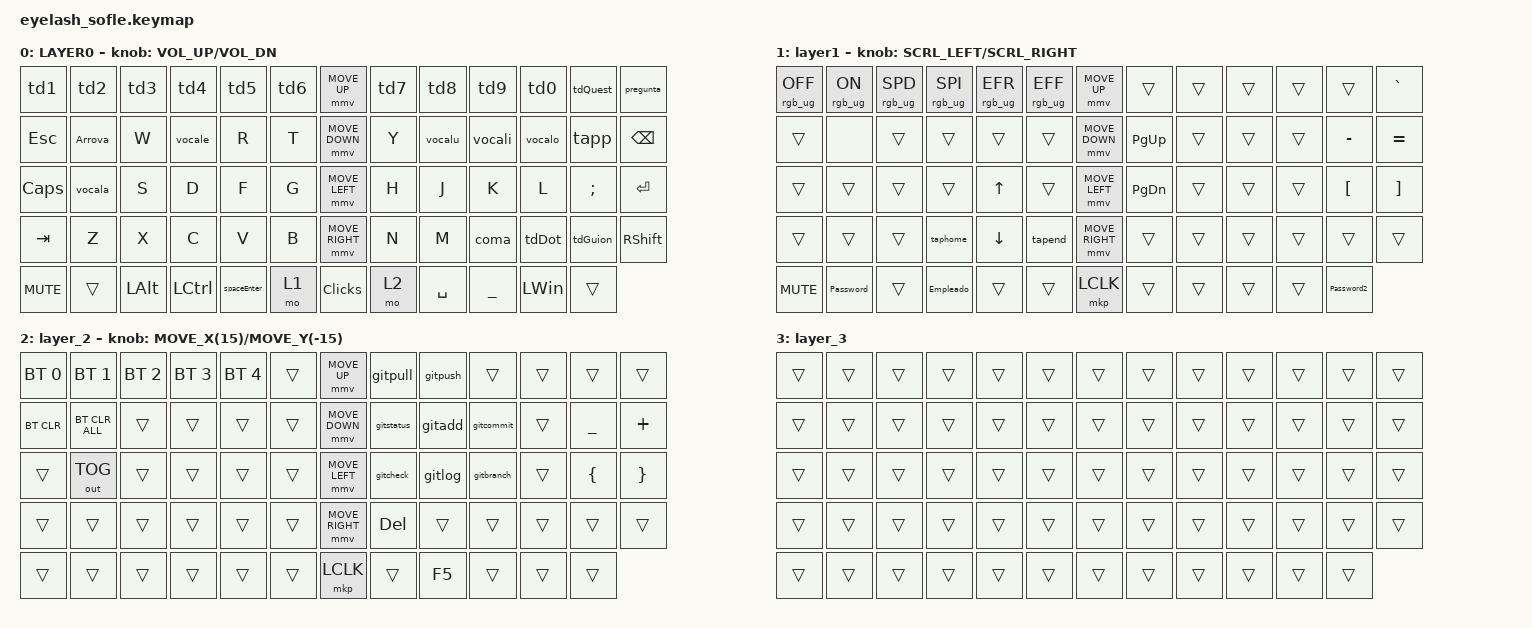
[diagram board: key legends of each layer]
#define ZMK_POINTING_DEFAULT_MOVE_VAL 1200  // 600
#define ZMK_POINTING_DEFAULT_SCRL_VAL 35    // 10

#include <input/processors.dtsi>
#include <zephyr/dt-bindings/input/input-event-codes.h>
#include <behaviors.dtsi>
#include <dt-bindings/zmk/bt.h>
#include <dt-bindings/zmk/keys.h>
#include <dt-bindings/zmk/outputs.h>
#include <dt-bindings/zmk/pointing.h>
#include <dt-bindings/zmk/rgb.h>

/ {
    zip_scroll_scaler: zip_scroll_scaler {
        compatible = "zmk,input-processor-scaler";
        #input-processor-cells = <2>;
        type = <INPUT_EV_REL>;
        codes = <INPUT_REL_WHEEL INPUT_REL_HWHEEL>;
        track-remainders;
    };
};

&mmv_input_listener { input-processors = <&zip_xy_scaler 2 1>; };

&msc_input_listener { input-processors = <&zip_scroll_scaler 2 1>; };

&msc {
    acceleration-exponent = <0>;      // 0
    time-to-max-speed-ms = <0>;       // 300
    delay-ms = <0>;                   // 0
};

&mmv {
    time-to-max-speed-ms = <400>;
    acceleration-exponent = <1>;
};

/ {
    scroll_encoder: scroll_encoder {
        compatible = "zmk,behavior-sensor-rotate";
        #sensor-binding-cells = <0>;
        bindings = <&msc SCRL_DOWN>, <&msc SCRL_UP>;

        tap-ms = <30>;
    };

    behaviors {
        td6: tap_dance_6 {
            compatible = "zmk,behavior-tap-dance";
            #binding-cells = <0>;
            tapping-term-ms = <200>;
            bindings = <&kp NUMBER_6>, <&kp RS(NUMBER_6)>;
        };

        td1: tap_dance_1 {
            compatible = "zmk,behavior-tap-dance";
            #binding-cells = <0>;
            bindings = <&kp NUMBER_1>, <&kp RS(NUMBER_1)>;
        };

        td2: tap_dance_2 {
            compatible = "zmk,behavior-tap-dance";
            #binding-cells = <0>;
            bindings = <&kp NUMBER_2>, <&kp RS(NUMBER_2)>;
        };

        Clicks: Clicks {
            compatible = "zmk,behavior-tap-dance";
            label = "CLICKS";
            #binding-cells = <0>;
            bindings = <&mkp LCLK>, <&mkp RCLK>;
        };

        td3: td3 {
            compatible = "zmk,behavior-tap-dance";
            label = "TD3";
            #binding-cells = <0>;
            bindings = <&kp NUMBER_3>, <&kp RS(NUMBER_3)>;
        };

        td4: td4 {
            compatible = "zmk,behavior-tap-dance";
            label = "TD4";
            #binding-cells = <0>;
            bindings = <&kp NUMBER_4>, <&kp RS(NUMBER_4)>;
        };

        td5: td5 {
            compatible = "zmk,behavior-tap-dance";
            label = "TD5";
            #binding-cells = <0>;
            bindings = <&kp N5>, <&kp RS(N5)>;
        };

        td7: td7 {
            compatible = "zmk,behavior-tap-dance";
            label = "TD7";
            #binding-cells = <0>;
            bindings = <&kp N7>, <&kp RS(N7)>;
        };

        td8: td8 {
            compatible = "zmk,behavior-tap-dance";
            label = "TD8";
            #binding-cells = <0>;
            bindings = <&kp N8>, <&kp RS(N8)>;
        };

        td9: td9 {
            compatible = "zmk,behavior-tap-dance";
            label = "TD9";
            #binding-cells = <0>;
            bindings = <&kp N9>, <&kp RS(N9)>;
        };

        td0: td0 {
            compatible = "zmk,behavior-tap-dance";
            label = "TD0";
            #binding-cells = <0>;
            bindings = <&kp N0>, <&kp RS(N0)>;
        };

        tdQuest: tdQuest {
            compatible = "zmk,behavior-tap-dance";
            label = "TDQUEST";
            #binding-cells = <0>;
            bindings = <&kp RS(MINUS)>, <&kp MINUS>;
        };

        tdDot: tdDot {
            compatible = "zmk,behavior-tap-dance";
            label = "TDDOT";
            #binding-cells = <0>;
            bindings = <&kp DOT>, <&kp RS(DOT)>;
        };

        tdmouse: tdmouse {
            compatible = "zmk,behavior-sensor-rotate-var";
            label = "TDMOUSE";
            #sensor-binding-cells = <2>;
            bindings = <&msc>, <&msc>;
        };

        Arrova: Arrova {
            compatible = "zmk,behavior-tap-dance";
            label = "ARROVA";
            #binding-cells = <0>;
            bindings = <&kp Q>, <&kp RA(Q)>;
        };

        spaceEnter: spaceEnter {
            compatible = "zmk,behavior-tap-dance";
            label = "SPACEENTER";
            #binding-cells = <0>;
            bindings = <&kp SPACE>, <&kp ENTER>;
        };

        coma: coma {
            compatible = "zmk,behavior-tap-dance";
            label = "COMA";
            #binding-cells = <0>;
            bindings = <&kp COMMA>, <&kp RS(COMMA)>;
        };

        vocala: vocala {
            compatible = "zmk,behavior-tap-dance";
            label = "VOCALA";
            #binding-cells = <0>;
            bindings = <&kp A>, <&kp LEFT_BRACKET>;
        };

        vocale: vocale {
            compatible = "zmk,behavior-tap-dance";
            label = "VOCALE";
            #binding-cells = <0>;
            bindings = <&kp E>, <&kp LEFT_BRACKET>;
        };

        vocalu: vocalu {
            compatible = "zmk,behavior-tap-dance";
            label = "VOCALU";
            #binding-cells = <0>;
            bindings = <&kp U>, <&kp LEFT_BRACKET>;
        };

        vocali: vocali {
            compatible = "zmk,behavior-tap-dance";
            label = "VOCALI";
            #binding-cells = <0>;
            bindings = <&kp I>, <&kp LEFT_BRACKET>;
        };

        vocalo: vocalo {
            compatible = "zmk,behavior-tap-dance";
            label = "VOCALO";
            #binding-cells = <0>;
            bindings = <&kp O>, <&kp LEFT_BRACKET>;
        };

        pregunta: pregunta {
            compatible = "zmk,behavior-tap-dance";
            label = "PREGUNTA";
            #binding-cells = <0>;
            bindings = <&kp EQUAL>, <&kp PLUS>;
        };

        tapend: tapend {
            compatible = "zmk,behavior-tap-dance";
            label = "TAPEND";
            #binding-cells = <0>;
            bindings = <&kp RIGHT>, <&kp END>;
        };

        taphome: taphome {
            compatible = "zmk,behavior-tap-dance";
            label = "TAPHOME";
            #binding-cells = <0>;
            bindings = <&kp LEFT_ARROW>, <&kp HOME>;
        };

        tapp: tapp {
            compatible = "zmk,behavior-tap-dance";
            label = "TAPP";
            #binding-cells = <0>;
            bindings = <&kp P>, <&kp RIGHT_BRACKET>;
        };

        tdGuion: tdGuion {
            compatible = "zmk,behavior-tap-dance";
            label = "TDGUION";
            #binding-cells = <0>;
            bindings = <&kp FSLH>, <&kp RS(FSLH)>;
        };
    };

    macros {
        Empleado: Empleado {
            compatible = "zmk,behavior-macro";
            #binding-cells = <0>;
            bindings = <&kp N1 &kp N1 &kp N1 &kp N6 &kp N2 &kp N2 &kp N7>;
            label = "EMPLEADO";
        };

        Password: Password {
            compatible = "zmk,behavior-macro";
            #binding-cells = <0>;
            bindings = <&kp N2 &kp N0 &kp N1 &kp N2 &kp N0 &kp N1 &kp N0 &kp N2 &kp N7 &kp N3 &kp DOT &kp LS(W) &kp E &kp L &kp L &kp LS(T) &kp LS(G) &kp LS(G) &kp LS(S) &kp N2 &kp NUMBER_9>;
            label = "PASSWORD";
        };

        Password2: Password2 {
            compatible = "zmk,behavior-macro";
            #binding-cells = <0>;
            bindings = <&kp LS(W) &kp E &kp L &kp L &kp N &kp E &kp V &kp E &kp R &kp D &kp I &kp E>;
            label = "PASSWORD2";
        };

        gitadd: gitadd {
            compatible = "zmk,behavior-macro";
            #binding-cells = <0>;
            bindings = <&kp G &kp I &kp T &kp SPACE &kp A &kp D &kp D &kp SPACE>;
            label = "GITADD";
        };

        gitstatus: gitstatus {
            compatible = "zmk,behavior-macro";
            #binding-cells = <0>;
            bindings = <&kp G &kp I &kp T &kp SPACE &kp S &kp T &kp A &kp T &kp U &kp S &kp RET>;
            label = "GITSTATUS";
        };

        gitcommit: gitcommit {
            compatible = "zmk,behavior-macro";
            #binding-cells = <0>;
            bindings = <&kp G &kp I &kp T &kp SPACE &kp C &kp O &kp M &kp M &kp I &kp T &kp SPACE &kp FSLH &kp M &kp SPACE>;
            label = "GITCOMMIT";
        };

        gitpull: gitpull {
            compatible = "zmk,behavior-macro";
            #binding-cells = <0>;
            bindings = <&kp G &kp I &kp T &kp SPACE &kp P &kp U &kp L &kp L>;
            label = "GITPULL";
        };

        gitpush: gitpush {
            compatible = "zmk,behavior-macro";
            #binding-cells = <0>;
            bindings = <&kp G &kp I &kp T &kp SPACE &kp P &kp U &kp S &kp H>;
            label = "GITPUSH";
        };

        gitlog: gitlog {
            compatible = "zmk,behavior-macro";
            #binding-cells = <0>;
            bindings = <&kp G &kp I &kp T &kp SPACE &kp L &kp O &kp G &kp SPACE &kp FSLH &kp FSLH &kp O &kp N &kp E &kp L &kp I &kp N &kp E>;
            label = "GITLOG";
        };

        gitbranch: gitbranch {
            compatible = "zmk,behavior-macro";
            #binding-cells = <0>;
            bindings = <&kp G &kp I &kp T &kp SPACE &kp B &kp R &kp A &kp N &kp C &kp H &kp SPACE &kp FSLH &kp FSLH &kp A &kp L &kp L>;
            label = "GITBRANCH";
        };

        gitcheck: gitcheck {
            compatible = "zmk,behavior-macro";
            #binding-cells = <0>;
            bindings = <&kp G &kp I &kp T &kp SPACE &kp C &kp H &kp E &kp C &kp K &kp O &kp U &kp T &kp SPACE>;
            label = "GITCHECK";
        };
    };

    keymap {
        compatible = "zmk,keymap";

        layer0 {
            bindings = <
&td1        &td2     &td3          &td4       &td5         &td6     &mmv MOVE_UP     &td7   &td8       &td9            &td0      &tdQuest  &pregunta
&kp ESCAPE  &Arrova  &kp W         &vocale    &kp R        &kp T    &mmv MOVE_DOWN   &kp Y  &vocalu    &vocali         &vocalo   &tapp     &kp BACKSPACE
&kp CAPS    &vocala  &kp S         &kp D      &kp F        &kp G    &mmv MOVE_LEFT   &kp H  &kp J      &kp K           &kp L     &kp SEMI  &kp ENTER
&kp TAB     &kp Z    &kp X         &kp C      &kp V        &kp B    &mmv MOVE_RIGHT  &kp N  &kp M      &coma           &tdDot    &tdGuion  &kp RSHIFT
&kp C_MUTE  &trans   &kp LEFT_ALT  &kp LCTRL  &spaceEnter  &mo 1    &Clicks          &mo 2  &kp SPACE  &kp UNDERSCORE  &kp LWIN  &trans
            >;

            sensor-bindings = <&inc_dec_kp C_VOLUME_UP C_VOL_DN>;
            display-name = "LAYER0";
        };

        layer_1 {
            bindings = <
&rgb_ug RGB_OFF  &rgb_ug RGB_ON  &rgb_ug RGB_SPD  &rgb_ug RGB_SPI  &rgb_ug RGB_EFR  &rgb_ug RGB_EFF    &mmv MOVE_UP     &trans     &trans  &trans  &trans  &trans            &kp GRAVE
&trans           &none           &trans           &trans           &trans           &trans             &mmv MOVE_DOWN   &kp PG_UP  &trans  &trans  &trans  &kp MINUS         &kp EQUAL
&trans           &trans          &trans           &trans           &kp UP_ARROW     &trans             &mmv MOVE_LEFT   &kp PG_DN  &trans  &trans  &trans  &kp LEFT_BRACKET  &kp RIGHT_BRACKET
&trans           &trans          &trans           &taphome         &kp DOWN_ARROW   &tapend            &mmv MOVE_RIGHT  &trans     &trans  &trans  &trans  &trans            &trans
&kp C_MUTE       &Password       &trans           &Empleado        &trans           &trans             &mkp LCLK        &trans     &trans  &trans  &trans  &Password2
            >;

            display-name = "layer1";
            sensor-bindings = <&tdmouse SCRL_LEFT SCRL_RIGHT>;
        };

        layer_2 {
            bindings = <
&bt BT_SEL 0  &bt BT_SEL 1    &bt BT_SEL 2  &bt BT_SEL 3  &bt BT_SEL 4  &trans    &mmv MOVE_UP     &gitpull    &gitpush  &trans      &trans  &trans     &trans
&bt BT_CLR    &bt BT_CLR_ALL  &trans        &trans        &trans        &trans    &mmv MOVE_DOWN   &gitstatus  &gitadd   &gitcommit  &trans  &kp UNDER  &kp PLUS
&trans        &out OUT_TOG    &trans        &trans        &trans        &trans    &mmv MOVE_LEFT   &gitcheck   &gitlog   &gitbranch  &trans  &kp LBRC   &kp RBRC
&trans        &trans          &trans        &trans        &trans        &trans    &mmv MOVE_RIGHT  &kp DELETE  &trans    &trans      &trans  &trans     &trans
&trans        &trans          &trans        &trans        &trans        &trans    &mkp LCLK        &trans      &kp F5    &trans      &trans  &trans
            >;

            sensor-bindings = <&tdmouse MOVE_X(15) MOVE_Y(-15)>;
        };

        layer_3 {
            bindings = <
&trans  &trans  &trans  &trans  &trans  &trans    &trans  &trans  &trans  &trans  &trans  &trans  &trans
&trans  &trans  &trans  &trans  &trans  &trans    &trans  &trans  &trans  &trans  &trans  &trans  &trans
&trans  &trans  &trans  &trans  &trans  &trans    &trans  &trans  &trans  &trans  &trans  &trans  &trans
&trans  &trans  &trans  &trans  &trans  &trans    &trans  &trans  &trans  &trans  &trans  &trans  &trans
&trans  &trans  &trans  &trans  &trans  &trans    &trans  &trans  &trans  &trans  &trans  &trans
            >;
        };
    };
};
